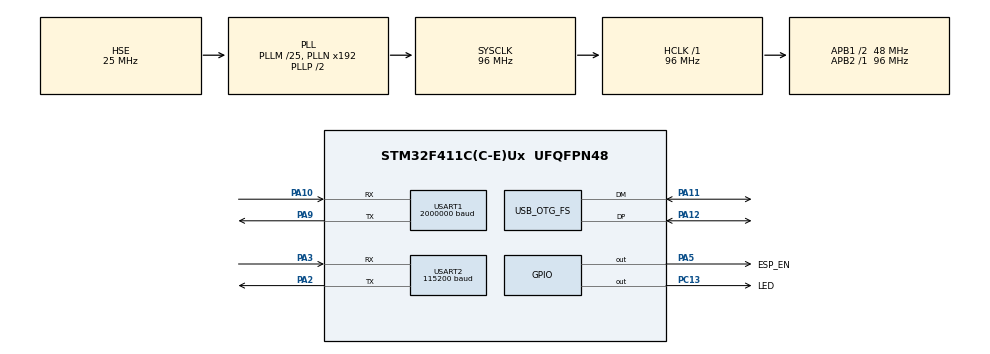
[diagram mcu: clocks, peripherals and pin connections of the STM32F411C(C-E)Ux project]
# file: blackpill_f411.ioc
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Dma.Request0=USART2_RX
Dma.USART2_RX.0.Direction=DMA_PERIPH_TO_MEMORY
Dma.USART2_RX.0.FIFOMode=DMA_FIFOMODE_DISABLE
Dma.USART2_RX.0.Instance=DMA1_Stream5
Dma.USART2_RX.0.MemDataAlignment=DMA_MDATAALIGN_BYTE
Dma.USART2_RX.0.MemInc=DMA_MINC_ENABLE
Dma.USART2_RX.0.Mode=DMA_CIRCULAR
Dma.USART2_RX.0.PeriphDataAlignment=DMA_PDATAALIGN_BYTE
Dma.USART2_RX.0.PeriphInc=DMA_PINC_DISABLE
Dma.USART2_RX.0.Priority=DMA_PRIORITY_LOW
Mcu.Family=STM32F4
Mcu.Name=STM32F411C(C-E)Ux
Mcu.Package=UFQFPN48
NVIC.DMA1_Stream5_IRQn=true\:0\:0\:false\:false\:true\:false\:true\:true
NVIC.OTG_FS_IRQn=true\:0\:0\:false\:false\:true\:false\:true\:true
NVIC.PriorityGroup=NVIC_PRIORITYGROUP_4
NVIC.USART1_IRQn=true\:0\:0\:false\:false\:true\:true\:true\:true
NVIC.USART2_IRQn=true\:0\:0\:false\:false\:true\:true\:true\:true
PA10.Mode=Asynchronous
PA10.Signal=USART1_RX
PA11.Mode=Device_Only
PA11.Signal=USB_OTG_FS_DM
PA12.Mode=Device_Only
PA12.Signal=USB_OTG_FS_DP
PA13.Mode=Serial_Wire
PA13.Signal=SYS_JTMS-SWDIO
PA14.Mode=Serial_Wire
PA14.Signal=SYS_JTCK-SWCLK
PA2.Mode=Asynchronous
PA2.Signal=USART2_TX
PA3.Mode=Asynchronous
PA3.Signal=USART2_RX
PA5.GPIO_Label=ESP_EN
PA5.PinState=GPIO_PIN_SET
PA5.Signal=GPIO_Output
PA9.Mode=Asynchronous
PA9.Signal=USART1_TX
PC13-ANTI_TAMP.GPIO_Label=LED
PC13-ANTI_TAMP.GPIO_ModeDefaultOutputPP=GPIO_MODE_OUTPUT_OD
PC13-ANTI_TAMP.GPIO_PuPd=GPIO_NOPULL
PC13-ANTI_TAMP.PinState=GPIO_PIN_SET
PC13-ANTI_TAMP.Signal=GPIO_Output
PC14-OSC32_IN.Mode=LSE-External-Oscillator
PC14-OSC32_IN.Signal=RCC_OSC32_IN
PC15-OSC32_OUT.Mode=LSE-External-Oscillator
PC15-OSC32_OUT.Signal=RCC_OSC32_OUT
PH0\ -\ OSC_IN.Mode=HSE-External-Oscillator
PH0\ -\ OSC_IN.Signal=RCC_OSC_IN
PH1\ -\ OSC_OUT.Mode=HSE-External-Oscillator
PH1\ -\ OSC_OUT.Signal=RCC_OSC_OUT
ProjectManager.HeapSize=0x200
ProjectManager.StackSize=0x400
ProjectManager.TargetToolchain=STM32CubeIDE
RCC.48MHZClocksFreq_Value=48000000
RCC.AHBFreq_Value=96000000
RCC.APB1CLKDivider=RCC_HCLK_DIV2
RCC.APB1Freq_Value=48000000
RCC.APB1TimFreq_Value=96000000
RCC.APB2Freq_Value=96000000
RCC.APB2TimFreq_Value=96000000
RCC.CortexFreq_Value=96000000
RCC.HCLKFreq_Value=96000000
RCC.HSE_VALUE=25000000
RCC.HSI_VALUE=16000000
RCC.PLLM=25
RCC.RCC_RTC_Clock_Source=RCC_RTCCLKSOURCE_LSE
RCC.SYSCLKFreq_VALUE=96000000
RCC.SYSCLKSource=RCC_SYSCLKSOURCE_PLLCLK
RCC.VCOOutputFreq_Value=192000000
USART1.BaudRate=2000000
USART1.OverSampling=UART_OVERSAMPLING_8
USART1.VirtualMode=VM_ASYNC
USART2.BaudRate=115200
USART2.OverSampling=UART_OVERSAMPLING_16
USART2.VirtualMode=VM_ASYNC
USB_DEVICE.CLASS_NAME_FS=HID
USB_DEVICE.MANUFACTURER_STRING=STM32World
USB_DEVICE.USBD_SELF_POWERED=0
USB_DEVICE.VirtualMode=Hid
USB_DEVICE.VirtualModeFS=Hid_FS
USB_OTG_FS.VirtualMode=Device_Only
VP_RTC_VS_RTC_Activate.Mode=RTC_Enabled
VP_USB_DEVICE_VS_USB_DEVICE_HID_FS.Mode=HID_FS
board=custom

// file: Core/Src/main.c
/* USER CODE BEGIN Header */
/**
 ******************************************************************************
 * @file           : main.c
 * @brief          : Main program body
 ******************************************************************************
 * @attention
 *
 * Copyright (c) 2025 Lars Boegild Thomsen <lbthomsen@gmail.com>
 * All rights reserved.
 *
 * This software is licensed under terms that can be found in the LICENSE file
 * in the root directory of this software component.
 * If no LICENSE file comes with this software, it is provided AS-IS.
 *
 ******************************************************************************
 */
/* USER CODE END Header */
#include "main.h"
#include "usb_device.h"

/* USER CODE BEGIN Includes */
#include <stdio.h>
#include "esp01.h"
/* USER CODE END Includes */

/* USER CODE BEGIN PD */
#define DMA_BUFFER_SIZE 64
/* USER CODE END PD */

RTC_HandleTypeDef hrtc;

UART_HandleTypeDef huart1;
UART_HandleTypeDef huart2;
DMA_HandleTypeDef hdma_usart2_rx;

/* USER CODE BEGIN PV */

esp01_handler_t esp01;
char dmabuf[DMA_BUFFER_SIZE];

/* USER CODE END PV */

void SystemClock_Config(void);
static void MX_GPIO_Init(void);
static void MX_DMA_Init(void);
static void MX_USART1_UART_Init(void);
static void MX_USART2_UART_Init(void);
static void MX_RTC_Init(void);

/* USER CODE BEGIN 0 */

// Send printf to uart1
int _write(int fd, char *ptr, int len) {
    HAL_StatusTypeDef hstatus;

    if (fd == 1 || fd == 2) {
        hstatus = HAL_UART_Transmit(&huart1, (uint8_t*) ptr, len, HAL_MAX_DELAY);
        if (hstatus == HAL_OK)
            return len;
        else
            return -1;
    }
    return -1;
}

/**
 * @brief  UART Event Callback.  Fired on idle or if dma buffer half full or full.
 * @param  huart  Pointer to a UART_HandleTypeDef structure that contains
 *                the configuration information for the specified UART module.
 * @param  offset A offset counter pointing to last valid character in DMA buffer.
 * @retval None
 */
void HAL_UARTEx_RxEventCallback(UART_HandleTypeDef *huart, uint16_t offset) {

    if (huart->Instance == USART2) {

        //printf("RxEvent %d\n", offset);

        static uint16_t last_offset = 0;

        // Ignore if called twice (which will happen on every half buffer)
        if (offset != last_offset) {

            // If wrap around reset last_size
            if (offset < last_offset)
                last_offset = 0;

            while (last_offset < offset) {
                esp01_receive(&esp01, (char) dmabuf[last_offset]);
                ++last_offset;
            }

        }

    }

}

/* USER CODE END 0 */

int main(void)
{

  /* MCU Configuration--------------------------------------------------------*/

  /* Reset of all peripherals, Initializes the Flash interface and the Systick. */
  HAL_Init();

  /* Configure the system clock */
  SystemClock_Config();

  /* Initialize all configured peripherals */
  MX_GPIO_Init();
  MX_DMA_Init();
  MX_USART1_UART_Init();
  MX_USART2_UART_Init();
  MX_USB_DEVICE_Init();
  MX_RTC_Init();
  /* USER CODE BEGIN 2 */

    printf("\n\n\n------------------\nStarting WiFi Demo\n");

    HAL_Delay(100);

    HAL_UARTEx_ReceiveToIdle_DMA(&huart2, (uint8_t*) &dmabuf, DMA_BUFFER_SIZE);

    HAL_GPIO_WritePin(ESP_EN_GPIO_Port, ESP_EN_Pin, GPIO_PIN_SET); // Power up the esp-01
    HAL_Delay(500); // Wait for the darn thing to reboot

    printf("Initialising WiFi\n");
    if (esp01_init(&esp01, &huart2) != ESP01_OK) {
        printf("Error initialising WiFi\n");
    }

    printf("Setting Wifi Mode\n");
    if (esp01_set_wifi_mode(&esp01, ESP01_WIFI_MODE_STA) != ESP01_OK) {
        printf("Failed\n");
    }

    printf("Configure NTP\n");
    if (esp01_set_ntp(&esp01, ESP01_SNTP_ENABLED, 8, "pool.ntp.org") != ESP01_OK) {
        printf("Failed\n");
    }

    HAL_Delay(500);

    printf("Connect to Wifi\n");
    if (esp01_wifi_connect(&esp01, "stm32", "STM32Secret") != ESP01_OK) {
        printf("Failed\n");
    }

    HAL_Delay(5000);

    printf("Get time\n");
    if (esp01_get_ntp_time(&esp01) != ESP01_OK) {
        printf("Failed\n");
    }

    printf("Done\n");

  /* USER CODE END 2 */

  /* Infinite loop */
  /* USER CODE BEGIN WHILE */

    uint32_t now = 0, next_blink = 500, next_time = 10000;

    while (1) {

        now = uwTick;

        if (now >= next_blink) {
            HAL_GPIO_TogglePin(LED_GPIO_Port, LED_Pin);
            next_blink = now + 500;
        }

        if (now >= next_time) {
            printf("Get time\n");
            if (esp01_get_ntp_time(&esp01) != ESP01_OK) {
                printf("Failed\n");
            }
            next_time = now + 10000;
        }

    /* USER CODE END WHILE */

    }
}

void SystemClock_Config(void)
{
  RCC_OscInitTypeDef RCC_OscInitStruct = {0};
  RCC_ClkInitTypeDef RCC_ClkInitStruct = {0};

  /** Configure the main internal regulator output voltage
  */
  __HAL_RCC_PWR_CLK_ENABLE();
  __HAL_PWR_VOLTAGESCALING_CONFIG(PWR_REGULATOR_VOLTAGE_SCALE1);

  /** Initializes the RCC Oscillators according to the specified parameters
  * in the RCC_OscInitTypeDef structure.
  */
  RCC_OscInitStruct.OscillatorType = RCC_OSCILLATORTYPE_HSE|RCC_OSCILLATORTYPE_LSE;
  RCC_OscInitStruct.HSEState = RCC_HSE_ON;
  RCC_OscInitStruct.LSEState = RCC_LSE_ON;
  RCC_OscInitStruct.PLL.PLLState = RCC_PLL_ON;
  RCC_OscInitStruct.PLL.PLLSource = RCC_PLLSOURCE_HSE;
  RCC_OscInitStruct.PLL.PLLM = 25;
  RCC_OscInitStruct.PLL.PLLN = 192;
  RCC_OscInitStruct.PLL.PLLP = RCC_PLLP_DIV2;
  RCC_OscInitStruct.PLL.PLLQ = 4;
  if (HAL_RCC_OscConfig(&RCC_OscInitStruct) != HAL_OK)
  {
    Error_Handler();
  }

  /** Initializes the CPU, AHB and APB buses clocks
  */
  RCC_ClkInitStruct.ClockType = RCC_CLOCKTYPE_HCLK|RCC_CLOCKTYPE_SYSCLK
                              |RCC_CLOCKTYPE_PCLK1|RCC_CLOCKTYPE_PCLK2;
  RCC_ClkInitStruct.SYSCLKSource = RCC_SYSCLKSOURCE_PLLCLK;
  RCC_ClkInitStruct.AHBCLKDivider = RCC_SYSCLK_DIV1;
  RCC_ClkInitStruct.APB1CLKDivider = RCC_HCLK_DIV2;
  RCC_ClkInitStruct.APB2CLKDivider = RCC_HCLK_DIV1;

  if (HAL_RCC_ClockConfig(&RCC_ClkInitStruct, FLASH_LATENCY_3) != HAL_OK)
  {
    Error_Handler();
  }
}

static void MX_RTC_Init(void)
{

  /** Initialize RTC Only
  */
  hrtc.Instance = RTC;
  hrtc.Init.HourFormat = RTC_HOURFORMAT_24;
  hrtc.Init.AsynchPrediv = 127;
  hrtc.Init.SynchPrediv = 255;
  hrtc.Init.OutPut = RTC_OUTPUT_DISABLE;
  hrtc.Init.OutPutPolarity = RTC_OUTPUT_POLARITY_HIGH;
  hrtc.Init.OutPutType = RTC_OUTPUT_TYPE_OPENDRAIN;
  if (HAL_RTC_Init(&hrtc) != HAL_OK)
  {
    Error_Handler();
  }

}

static void MX_USART1_UART_Init(void)
{

  huart1.Instance = USART1;
  huart1.Init.BaudRate = 2000000;
  huart1.Init.WordLength = UART_WORDLENGTH_8B;
  huart1.Init.StopBits = UART_STOPBITS_1;
  huart1.Init.Parity = UART_PARITY_NONE;
  huart1.Init.Mode = UART_MODE_TX_RX;
  huart1.Init.HwFlowCtl = UART_HWCONTROL_NONE;
  huart1.Init.OverSampling = UART_OVERSAMPLING_8;
  if (HAL_UART_Init(&huart1) != HAL_OK)
  {
    Error_Handler();
  }

}

static void MX_USART2_UART_Init(void)
{

  huart2.Instance = USART2;
  huart2.Init.BaudRate = 115200;
  huart2.Init.WordLength = UART_WORDLENGTH_8B;
  huart2.Init.StopBits = UART_STOPBITS_1;
  huart2.Init.Parity = UART_PARITY_NONE;
  huart2.Init.Mode = UART_MODE_TX_RX;
  huart2.Init.HwFlowCtl = UART_HWCONTROL_NONE;
  huart2.Init.OverSampling = UART_OVERSAMPLING_16;
  if (HAL_UART_Init(&huart2) != HAL_OK)
  {
    Error_Handler();
  }

}

static void MX_DMA_Init(void)
{

  /* DMA controller clock enable */
  __HAL_RCC_DMA1_CLK_ENABLE();

  /* DMA interrupt init */
  /* DMA1_Stream5_IRQn interrupt configuration */
  HAL_NVIC_SetPriority(DMA1_Stream5_IRQn, 0, 0);
  HAL_NVIC_EnableIRQ(DMA1_Stream5_IRQn);

}

static void MX_GPIO_Init(void)
{
  GPIO_InitTypeDef GPIO_InitStruct = {0};

  /* GPIO Ports Clock Enable */
  __HAL_RCC_GPIOC_CLK_ENABLE();
  __HAL_RCC_GPIOH_CLK_ENABLE();
  __HAL_RCC_GPIOA_CLK_ENABLE();

  /*Configure GPIO pin Output Level */
  HAL_GPIO_WritePin(LED_GPIO_Port, LED_Pin, GPIO_PIN_SET);

  /*Configure GPIO pin Output Level */
  HAL_GPIO_WritePin(ESP_EN_GPIO_Port, ESP_EN_Pin, GPIO_PIN_SET);

  /*Configure GPIO pin : LED_Pin */
  GPIO_InitStruct.Pin = LED_Pin;
  GPIO_InitStruct.Mode = GPIO_MODE_OUTPUT_OD;
  GPIO_InitStruct.Pull = GPIO_NOPULL;
  GPIO_InitStruct.Speed = GPIO_SPEED_FREQ_LOW;
  HAL_GPIO_Init(LED_GPIO_Port, &GPIO_InitStruct);

  /*Configure GPIO pin : ESP_EN_Pin */
  GPIO_InitStruct.Pin = ESP_EN_Pin;
  GPIO_InitStruct.Mode = GPIO_MODE_OUTPUT_PP;
  GPIO_InitStruct.Pull = GPIO_NOPULL;
  GPIO_InitStruct.Speed = GPIO_SPEED_FREQ_LOW;
  HAL_GPIO_Init(ESP_EN_GPIO_Port, &GPIO_InitStruct);

}

void Error_Handler(void)
{
    __disable_irq();
    while (1)
    {
    }
}
